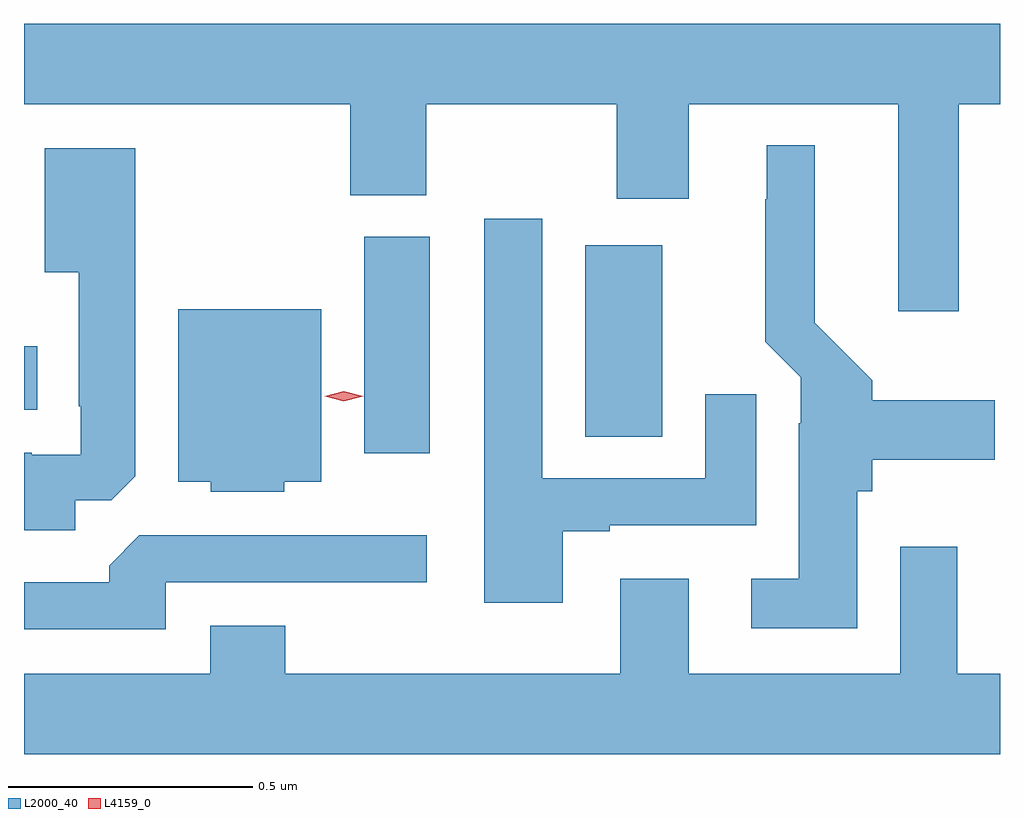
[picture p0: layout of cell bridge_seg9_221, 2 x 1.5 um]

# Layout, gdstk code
import gdstk
lib = gdstk.Library(unit=1e-6, precision=1e-09)
def R(c, l, rs):  # rectangles x0, y0, x1, y1
    for r in rs: c.add(gdstk.rectangle(r[:2], r[2:], *l))
def P(c, l, *ps):  # polygons
    for p in ps: c.add(gdstk.Polygon(p, *l))
L2000_40 = (2000, 40)
L4159_0 = (4159, 0)

bridge_seg9_221 = lib.new_cell('bridge_seg9_221')
R(bridge_seg9_221, L2000_40, [(191.99,1219.68,192.124,1220.124), (192.443,1219.714,192.601,1220.107), (191.293,1219.769,191.32,1219.9)])
P(bridge_seg9_221, L2000_40, [(191.293,1220.396),(191.962,1220.396),(191.962,1220.209),(192.117,1220.209),(192.117,1220.396),(192.508,1220.396),(192.508,1220.202),(192.655,1220.202),(192.655,1220.396),(193.085,1220.396),(193.085,1219.971),(193.208,1219.971),(193.208,1220.396),(193.293,1220.396),(193.293,1220.56),(191.293,1220.56)],
  [(193,1219.602),(193.031,1219.602),(193.031,1219.667),(193.282,1219.667),(193.282,1219.789),(193.031,1219.789),(193.031,1219.83),(192.913,1219.948),(192.913,1220.311),(192.815,1220.311),(192.815,1220.201),(192.812,1220.201),(192.812,1219.909),(192.885,1219.836),(192.885,1219.742),(192.881,1219.742),(192.881,1219.423),(192.783,1219.423),(192.783,1219.322),(193,1219.322)],
  [(191.398,1219.584),(191.472,1219.584),(191.521,1219.633),(191.521,1220.305),(191.336,1220.305),(191.336,1220.051),(191.405,1220.051),(191.405,1219.777),(191.409,1219.777),(191.409,1219.677),(191.309,1219.677),(191.309,1219.681),(191.293,1219.681),(191.293,1219.523),(191.398,1219.523)],
  [(192.397,1219.521),(192.493,1219.521),(192.493,1219.533),(192.793,1219.533),(192.793,1219.801),(192.689,1219.801),(192.689,1219.629),(192.355,1219.629),(192.355,1220.161),(192.236,1220.161),(192.236,1219.374),(192.397,1219.374)],
  [(191.826,1219.622),(191.902,1219.622),(191.902,1219.975),(191.609,1219.975),(191.609,1219.622),(191.676,1219.622),(191.676,1219.601),(191.826,1219.601)],
  [(191.583,1219.416),(192.118,1219.416),(192.118,1219.512),(191.529,1219.512),(191.468,1219.45),(191.468,1219.416),(191.293,1219.416),(191.293,1219.32),(191.583,1219.32)],
  [(193.293,1219.228),(193.205,1219.228),(193.205,1219.489),(193.089,1219.489),(193.089,1219.228),(192.655,1219.228),(192.655,1219.423),(192.515,1219.423),(192.515,1219.228),(191.828,1219.228),(191.828,1219.327),(191.675,1219.327),(191.675,1219.228),(191.293,1219.228),(191.293,1219.064),(193.293,1219.064)])
P(bridge_seg9_221, L4159_0, [(191.948,1219.787),(191.909,1219.797),(191.909,1219.797),(191.909,1219.797),(191.948,1219.807),(191.988,1219.797),(191.988,1219.797),(191.988,1219.797)])

lib.write_gds('bridge_seg9_221.gds')
